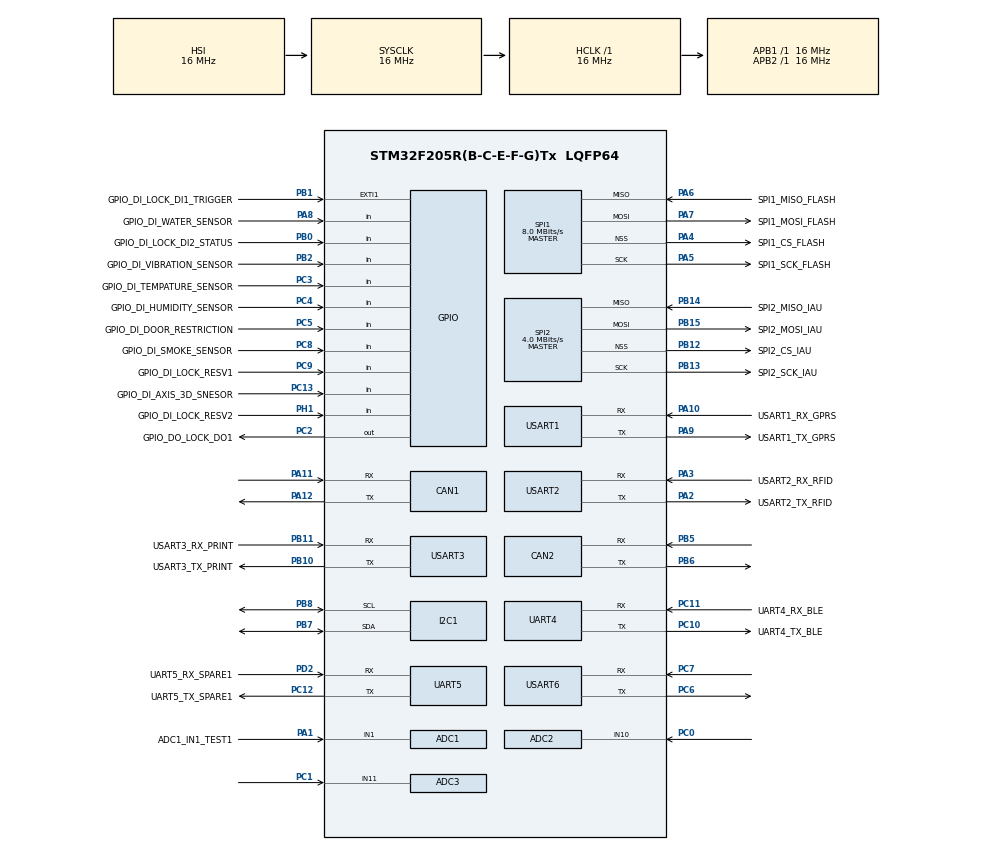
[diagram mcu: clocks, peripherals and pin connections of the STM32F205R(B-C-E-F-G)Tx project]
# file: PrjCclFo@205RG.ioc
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ADC1.Channel-20\#ChannelRegularConversion=ADC_CHANNEL_1
ADC1.NbrOfConversionFlag=1
ADC1.Rank-20\#ChannelRegularConversion=1
ADC1.SamplingTime-20\#ChannelRegularConversion=ADC_SAMPLETIME_3CYCLES
ADC1.master=1
ADC2.Channel-0\#ChannelRegularConversion=ADC_CHANNEL_10
ADC2.NbrOfConversionFlag=1
ADC2.Rank-0\#ChannelRegularConversion=1
ADC2.SamplingTime-0\#ChannelRegularConversion=ADC_SAMPLETIME_3CYCLES
ADC3.Channel-147\#ChannelRegularConversion=ADC_CHANNEL_11
ADC3.NbrOfConversionFlag=1
ADC3.Rank-147\#ChannelRegularConversion=1
ADC3.SamplingTime-147\#ChannelRegularConversion=ADC_SAMPLETIME_3CYCLES
CAN1.CalculateTimeBit=3000
CAN1.CalculateTimeQuantum=1000.0
CAN2.CalculateTimeBit=3000
CAN2.CalculateTimeQuantum=1000.0
Dma.Request0=SPI2_RX
Dma.Request1=SPI2_TX
Dma.Request2=SPI1_TX
Dma.Request3=SPI1_RX
Dma.SPI1_RX.3.Direction=DMA_PERIPH_TO_MEMORY
Dma.SPI1_RX.3.FIFOMode=DMA_FIFOMODE_DISABLE
Dma.SPI1_RX.3.Instance=DMA2_Stream0
Dma.SPI1_RX.3.MemDataAlignment=DMA_MDATAALIGN_BYTE
Dma.SPI1_RX.3.MemInc=DMA_MINC_ENABLE
Dma.SPI1_RX.3.Mode=DMA_NORMAL
Dma.SPI1_RX.3.PeriphDataAlignment=DMA_PDATAALIGN_BYTE
Dma.SPI1_RX.3.PeriphInc=DMA_PINC_DISABLE
Dma.SPI1_RX.3.Priority=DMA_PRIORITY_MEDIUM
Dma.SPI1_TX.2.Direction=DMA_MEMORY_TO_PERIPH
Dma.SPI1_TX.2.FIFOMode=DMA_FIFOMODE_DISABLE
Dma.SPI1_TX.2.Instance=DMA2_Stream3
Dma.SPI1_TX.2.MemDataAlignment=DMA_MDATAALIGN_BYTE
Dma.SPI1_TX.2.MemInc=DMA_MINC_ENABLE
Dma.SPI1_TX.2.Mode=DMA_NORMAL
Dma.SPI1_TX.2.PeriphDataAlignment=DMA_PDATAALIGN_BYTE
Dma.SPI1_TX.2.PeriphInc=DMA_PINC_DISABLE
Dma.SPI1_TX.2.Priority=DMA_PRIORITY_MEDIUM
Dma.SPI2_RX.0.Direction=DMA_PERIPH_TO_MEMORY
Dma.SPI2_RX.0.FIFOMode=DMA_FIFOMODE_DISABLE
Dma.SPI2_RX.0.Instance=DMA1_Stream3
Dma.SPI2_RX.0.MemDataAlignment=DMA_MDATAALIGN_BYTE
Dma.SPI2_RX.0.MemInc=DMA_MINC_ENABLE
Dma.SPI2_RX.0.Mode=DMA_NORMAL
Dma.SPI2_RX.0.PeriphDataAlignment=DMA_PDATAALIGN_BYTE
Dma.SPI2_RX.0.PeriphInc=DMA_PINC_DISABLE
Dma.SPI2_RX.0.Priority=DMA_PRIORITY_MEDIUM
Dma.SPI2_TX.1.Direction=DMA_MEMORY_TO_PERIPH
Dma.SPI2_TX.1.FIFOMode=DMA_FIFOMODE_DISABLE
Dma.SPI2_TX.1.Instance=DMA1_Stream4
Dma.SPI2_TX.1.MemDataAlignment=DMA_MDATAALIGN_BYTE
Dma.SPI2_TX.1.MemInc=DMA_MINC_ENABLE
Dma.SPI2_TX.1.Mode=DMA_NORMAL
Dma.SPI2_TX.1.PeriphDataAlignment=DMA_PDATAALIGN_BYTE
Dma.SPI2_TX.1.PeriphInc=DMA_PINC_DISABLE
Dma.SPI2_TX.1.Priority=DMA_PRIORITY_MEDIUM
FREERTOS.INCLUDE_eTaskGetState=1
FREERTOS.INCLUDE_pcTaskGetTaskName=1
FREERTOS.INCLUDE_vTaskCleanUpResources=1
FREERTOS.Queues01=myQueue01,16,uint16_t,NULL
FREERTOS.Tasks01=defaultTask,0,512,StartDefaultTask,Default;myTask02,0,512,StartTask02,Default
FREERTOS.Timers01=myTimer01,Callback01,osTimerPeriodic,Default
FREERTOS.configCHECK_FOR_STACK_OVERFLOW=2
FREERTOS.configGENERATE_RUN_TIME_STATS=1
FREERTOS.configMAX_PRIORITIES=31
FREERTOS.configMAX_TASK_NAME_LEN=24
FREERTOS.configMINIMAL_STACK_SIZE=128
FREERTOS.configQUEUE_REGISTRY_SIZE=2
FREERTOS.configTOTAL_HEAP_SIZE=0x9C00
FREERTOS.configUSE_COUNTING_SEMAPHORES=1
FREERTOS.configUSE_IDLE_HOOK=1
FREERTOS.configUSE_MALLOC_FAILED_HOOK=1
FREERTOS.configUSE_PORT_OPTIMISED_TASK_SELECTION=1
FREERTOS.configUSE_PREEMPTION=1
FREERTOS.configUSE_RECURSIVE_MUTEXES=1
FREERTOS.configUSE_TICKLESS_IDLE=1
FREERTOS.configUSE_TICK_HOOK=1
FREERTOS.configUSE_TIMERS=1
Mcu.Family=STM32F2
Mcu.Name=STM32F205R(B-C-E-F-G)Tx
Mcu.Package=LQFP64
NVIC.CAN1_RX0_IRQn=true\:5\:0\:false\:false\:true\:true
NVIC.CAN1_RX1_IRQn=true\:5\:0\:false\:false\:true\:true
NVIC.CAN1_SCE_IRQn=true\:5\:0\:false\:false\:true\:true
NVIC.CAN1_TX_IRQn=true\:5\:0\:false\:false\:true\:true
NVIC.CAN2_RX0_IRQn=true\:5\:0\:false\:false\:true\:true
NVIC.CAN2_RX1_IRQn=true\:5\:0\:false\:false\:true\:true
NVIC.CAN2_SCE_IRQn=true\:5\:0\:false\:false\:true\:true
NVIC.CAN2_TX_IRQn=true\:5\:0\:false\:false\:true\:true
NVIC.DMA1_Stream3_IRQn=true\:5\:0\:false\:false\:true\:true
NVIC.DMA1_Stream4_IRQn=true\:5\:0\:false\:false\:true\:true
NVIC.DMA2_Stream0_IRQn=true\:0\:0\:false\:true\:true\:8\:false
NVIC.DMA2_Stream3_IRQn=true\:0\:0\:false\:true\:true\:9\:false
NVIC.I2C1_ER_IRQn=true\:0\:0\:false\:true\:true\:2\:false
NVIC.I2C1_EV_IRQn=true\:0\:0\:false\:true\:true\:1\:false
NVIC.PriorityGroup=NVIC_PRIORITYGROUP_4
NVIC.SPI2_IRQn=true\:5\:0\:false\:true\:true\:3\:true
NVIC.TIM1_UP_TIM10_IRQn=true\:0\:0\:false\:false\:true\:false
NVIC.TimeBase=TIM1_UP_TIM10_IRQn
NVIC.TimeBaseIP=TIM1
NVIC.UART4_IRQn=true\:5\:0\:false\:true\:true\:6\:true
NVIC.UART5_IRQn=true\:5\:0\:false\:true\:true\:7\:true
NVIC.USART1_IRQn=true\:5\:0\:true\:false\:true\:true
NVIC.USART2_IRQn=true\:5\:0\:false\:true\:true\:4\:true
NVIC.USART3_IRQn=true\:5\:0\:false\:true\:true\:5\:true
NVIC.USART6_IRQn=true\:0\:0\:false\:true\:true\:10\:false
PA0-WKUP.Mode=SYS_WakeUp0
PA0-WKUP.Signal=SYS_WKUP
PA1.GPIO_Label=ADC1_IN1_TEST1
PA1.Signal=ADCx_IN1
PA10.GPIO_Label=USART1_RX_GPRS
PA10.Mode=Asynchronous
PA10.Signal=USART1_RX
PA11.Mode=Master
PA11.Signal=CAN1_RX
PA12.Mode=Master
PA12.Signal=CAN1_TX
PA13.Mode=JTAG_5_pins
PA13.Signal=SYS_JTMS-SWDIO
PA14.Mode=JTAG_5_pins
PA14.Signal=SYS_JTCK-SWCLK
PA15.Mode=JTAG_5_pins
PA15.Signal=SYS_JTDI
PA2.GPIO_Label=USART2_TX_RFID
PA2.Mode=Asynchronous
PA2.Signal=USART2_TX
PA3.GPIO_Label=USART2_RX_RFID
PA3.Mode=Asynchronous
PA3.Signal=USART2_RX
PA4.GPIO_Label=SPI1_CS_FLASH
PA4.Mode=NSS_Signal_Hard_Output
PA4.Signal=SPI1_NSS
PA5.GPIO_Label=SPI1_SCK_FLASH
PA5.Mode=Full_Duplex_Master
PA5.Signal=SPI1_SCK
PA6.GPIO_Label=SPI1_MISO_FLASH
PA6.Mode=Full_Duplex_Master
PA6.Signal=SPI1_MISO
PA7.GPIO_Label=SPI1_MOSI_FLASH
PA7.Mode=Full_Duplex_Master
PA7.Signal=SPI1_MOSI
PA8.GPIO_Label=GPIO_DI_WATER_SENSOR
PA8.Signal=GPIO_Input
PA9.GPIO_Label=USART1_TX_GPRS
PA9.Mode=Asynchronous
PA9.Signal=USART1_TX
PB0.GPIO_Label=GPIO_DI_LOCK_DI2_STATUS
PB0.Signal=GPIO_Input
PB1.GPIO_Label=GPIO_DI_LOCK_DI1_TRIGGER
PB1.Signal=GPXTI1
PB10.GPIO_Label=USART3_TX_PRINT
PB10.Mode=Asynchronous
PB10.Signal=USART3_TX
PB11.GPIO_Label=USART3_RX_PRINT
PB11.Mode=Asynchronous
PB11.Signal=USART3_RX
PB12.GPIO_Label=SPI2_CS_IAU
PB12.Mode=NSS_Signal_Hard_Output
PB12.Signal=SPI2_NSS
PB13.GPIO_Label=SPI2_SCK_IAU
PB13.Mode=Full_Duplex_Master
PB13.Signal=SPI2_SCK
PB14.GPIO_Label=SPI2_MISO_IAU
PB14.Mode=Full_Duplex_Master
PB14.Signal=SPI2_MISO
PB15.GPIO_Label=SPI2_MOSI_IAU
PB15.Mode=Full_Duplex_Master
PB15.Signal=SPI2_MOSI
PB2.GPIO_Label=GPIO_DI_VIBRATION_SENSOR
PB2.Signal=GPIO_Input
PB3.Mode=JTAG_5_pins
PB3.Signal=SYS_JTDO-SWO
PB4.Mode=JTAG_5_pins
PB4.Signal=SYS_JTRST
PB5.Mode=Slave
PB5.Signal=CAN2_RX
PB6.Mode=Slave
PB6.Signal=CAN2_TX
PB7.Mode=I2C
PB7.Signal=I2C1_SDA
PB8.Mode=I2C
PB8.Signal=I2C1_SCL
PC0.Signal=ADCx_IN10
PC1.Signal=ADCx_IN11
PC10.GPIO_Label=UART4_TX_BLE
PC10.Mode=Asynchronous
PC10.Signal=UART4_TX
PC11.GPIO_Label=UART4_RX_BLE
PC11.Mode=Asynchronous
PC11.Signal=UART4_RX
PC12.GPIO_Label=UART5_TX_SPARE1
PC12.Mode=Asynchronous
PC12.Signal=UART5_TX
PC13.GPIO_Label=GPIO_DI_AXIS_3D_SNESOR
PC13.Signal=GPIO_Input
PC14-OSC32_IN.Mode=LSE-External-Oscillator
PC14-OSC32_IN.Signal=RCC_OSC32_IN
PC15-OSC32_OUT.Mode=LSE-External-Oscillator
PC15-OSC32_OUT.Signal=RCC_OSC32_OUT
PC2.GPIO_Label=GPIO_DO_LOCK_DO1
PC2.Signal=GPIO_Output
PC3.GPIO_Label=GPIO_DI_TEMPATURE_SENSOR
PC3.Signal=GPIO_Input
PC4.GPIO_Label=GPIO_DI_HUMIDITY_SENSOR
PC4.Signal=GPIO_Input
PC5.GPIO_Label=GPIO_DI_DOOR_RESTRICTION
PC5.Signal=GPIO_Input
PC6.Mode=Asynchronous
PC6.Signal=USART6_TX
PC7.Mode=Asynchronous
PC7.Signal=USART6_RX
PC8.GPIO_Label=GPIO_DI_SMOKE_SENSOR
PC8.Signal=GPIO_Input
PC9.GPIO_Label=GPIO_DI_LOCK_RESV1
PC9.Signal=GPIO_Input
PD2.GPIO_Label=UART5_RX_SPARE1
PD2.Mode=Asynchronous
PD2.Signal=UART5_RX
PH1-OSC_OUT.GPIO_Label=GPIO_DI_LOCK_RESV2
PH1-OSC_OUT.Signal=GPIO_Input
ProjectManager.HeapSize=0x200
ProjectManager.StackSize=0x400
ProjectManager.TargetToolchain=MDK-ARM V5
RCC.48MHZClocksFreq_Value=48000000
RCC.AHBFreq_Value=16000000
RCC.APB1Freq_Value=16000000
RCC.APB1TimFreq_Value=16000000
RCC.APB2Freq_Value=16000000
RCC.APB2TimFreq_Value=16000000
RCC.CortexFreq_Value=2000000
RCC.Cortex_Div=SYSTICK_CLKSOURCE_HCLK_DIV8
RCC.HCLKFreq_Value=16000000
RCC.HSE_VALUE=25000000
RCC.HSI_VALUE=16000000
RCC.SYSCLKFreq_VALUE=16000000
RCC.VCOOutputFreq_Value=192000000
SH.ADCx_IN1.0=ADC1_IN1,IN1
SH.ADCx_IN10.0=ADC2_IN10,IN10
SH.ADCx_IN11.0=ADC3_IN11,IN11
SPI1.BaudRatePrescaler=SPI_BAUDRATEPRESCALER_2
SPI1.CalculateBaudRate=8.0 MBits/s
SPI1.Mode=SPI_MODE_MASTER
SPI1.VirtualNSS=VM_NSSHARD
SPI2.BaudRatePrescaler=SPI_BAUDRATEPRESCALER_4
SPI2.CalculateBaudRate=4.0 MBits/s
SPI2.Mode=SPI_MODE_MASTER
SPI2.VirtualNSS=VM_NSSHARD
VP_FREERTOS_VS_ENABLE.Mode=Enabled
VP_RTC_VS_RTC_Activate.Mode=RTC_Enabled
VP_RTC_VS_RTC_Alarm_A_Intern.Mode=Alarm A
VP_RTC_VS_RTC_Alarm_B_Intern.Mode=Alarm B
VP_RTC_VS_RTC_Calendar.Mode=RTC_Calendar
VP_RTC_VS_RTC_WakeUp_intern.Mode=WakeUp
VP_SYS_VS_tim1.Mode=TIM1
VP_TIM6_VS_ClockSourceINT.Mode=Enable_Timer
VP_TIM7_VS_ClockSourceINT.Mode=Enable_Timer
board=PrjCclFo@205RG

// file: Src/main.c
/**
  ******************************************************************************
  * File Name          : main.c
  * Description        : Main program body
  ******************************************************************************
  *
  * Copyright (c) 2016 STMicroelectronics International N.V.
  * All rights reserved.
  *
  * Redistribution and use in source and binary forms, with or without
  * modification, are permitted, provided that the following conditions are met:
  *
  * 1. Redistribution of source code must retain the above copyright notice,
  *    this list of conditions and the following disclaimer.
  * 2. Redistributions in binary form must reproduce the above copyright notice,
  *    this list of conditions and the following disclaimer in the documentation
  *    and/or other materials provided with the distribution.
  * 3. Neither the name of STMicroelectronics nor the names of other
  *    contributors to this software may be used to endorse or promote products
  *    derived from this software without specific written permission.
  * 4. This software, including modifications and/or derivative works of this
  *    software, must execute solely and exclusively on microcontroller or
  *    microprocessor devices manufactured by or for STMicroelectronics.
  * 5. Redistribution and use of this software other than as permitted under
  *    this license is void and will automatically terminate your rights under
  *    this license.
  *
  * THIS SOFTWARE IS PROVIDED BY STMICROELECTRONICS AND CONTRIBUTORS "AS IS"
  * AND ANY EXPRESS, IMPLIED OR STATUTORY WARRANTIES, INCLUDING, BUT NOT
  * LIMITED TO, THE IMPLIED WARRANTIES OF MERCHANTABILITY, FITNESS FOR A
  * PARTICULAR PURPOSE AND NON-INFRINGEMENT OF THIRD PARTY INTELLECTUAL PROPERTY
  * RIGHTS ARE DISCLAIMED TO THE FULLEST EXTENT PERMITTED BY LAW. IN NO EVENT
  * SHALL STMICROELECTRONICS OR CONTRIBUTORS BE LIABLE FOR ANY DIRECT, INDIRECT,
  * INCIDENTAL, SPECIAL, EXEMPLARY, OR CONSEQUENTIAL DAMAGES (INCLUDING, BUT NOT
  * LIMITED TO, PROCUREMENT OF SUBSTITUTE GOODS OR SERVICES; LOSS OF USE, DATA,
  * OR PROFITS; OR BUSINESS INTERRUPTION) HOWEVER CAUSED AND ON ANY THEORY OF
  * LIABILITY, WHETHER IN CONTRACT, STRICT LIABILITY, OR TORT (INCLUDING
  * NEGLIGENCE OR OTHERWISE) ARISING IN ANY WAY OUT OF THE USE OF THIS SOFTWARE,
  * EVEN IF ADVISED OF THE POSSIBILITY OF SUCH DAMAGE.
  *
  ******************************************************************************
  */
#include "main.h"
#include "stm32f2xx_hal.h"
#include "cmsis_os.h"

/* USER CODE BEGIN Includes */
#include "vmfreeoslayer.h"
/* USER CODE END Includes */

ADC_HandleTypeDef hadc1;
ADC_HandleTypeDef hadc2;
ADC_HandleTypeDef hadc3;

CAN_HandleTypeDef hcan1;
CAN_HandleTypeDef hcan2;

I2C_HandleTypeDef hi2c1;

RTC_HandleTypeDef hrtc;

SPI_HandleTypeDef hspi1;
SPI_HandleTypeDef hspi2;
DMA_HandleTypeDef hdma_spi1_tx;
DMA_HandleTypeDef hdma_spi1_rx;
DMA_HandleTypeDef hdma_spi2_rx;
DMA_HandleTypeDef hdma_spi2_tx;

TIM_HandleTypeDef htim6;
TIM_HandleTypeDef htim7;

UART_HandleTypeDef huart4;
UART_HandleTypeDef huart5;
UART_HandleTypeDef huart1;
UART_HandleTypeDef huart2;
UART_HandleTypeDef huart3;
UART_HandleTypeDef huart6;

osThreadId defaultTaskHandle;
osThreadId myTask02Handle;
osMessageQId myQueue01Handle;
osTimerId myTimer01Handle;

/* USER CODE BEGIN PV */
/* Private variables ---------------------------------------------------------*/
uint8_t zIhuUartRxBuffer[6];
uint8_t zIhuSpiRxBuffer[2];
uint8_t zIhuI2cRxBuffer[2];

/* USER CODE END PV */

void SystemClock_Config(void);
void Error_Handler(void);
static void MX_GPIO_Init(void);
static void MX_DMA_Init(void);
static void MX_ADC1_Init(void);
static void MX_ADC2_Init(void);
static void MX_ADC3_Init(void);
static void MX_I2C1_Init(void);
static void MX_SPI1_Init(void);
static void MX_SPI2_Init(void);
static void MX_UART4_Init(void);
static void MX_UART5_Init(void);
static void MX_USART1_UART_Init(void);
static void MX_USART2_UART_Init(void);
static void MX_USART3_UART_Init(void);
static void MX_USART6_UART_Init(void);
static void MX_TIM6_Init(void);
static void MX_TIM7_Init(void);
static void MX_CAN1_Init(void);
static void MX_CAN2_Init(void);
static void MX_RTC_Init(void);
void StartDefaultTask(void const * argument);
void StartTask02(void const * argument);
void Callback01(void const * argument);
static void MX_NVIC_Init(void);

/* USER CODE BEGIN PFP */
/* Private function prototypes -----------------------------------------------*/

/* USER CODE END PFP */

int main(void)
{

  /* MCU Configuration----------------------------------------------------------*/

  /* Reset of all peripherals, Initializes the Flash interface and the Systick. */
  HAL_Init();

  /* Configure the system clock */
  SystemClock_Config();

  /* Initialize all configured peripherals */
  MX_GPIO_Init();
  MX_DMA_Init();
  MX_ADC1_Init();
  MX_ADC2_Init();
  MX_ADC3_Init();
  MX_I2C1_Init();
  MX_SPI1_Init();
  MX_SPI2_Init();
  MX_UART4_Init();
  MX_UART5_Init();
  MX_USART1_UART_Init();
  MX_USART2_UART_Init();
  MX_USART3_UART_Init();
  MX_USART6_UART_Init();
  MX_TIM6_Init();
  MX_TIM7_Init();
  MX_CAN1_Init();
  MX_CAN2_Init();
  MX_RTC_Init();

  /* Initialize interrupts */
  MX_NVIC_Init();

  /* USER CODE BEGIN 2 */
	/* 使能接收，进入中断回调函数 */
  HAL_UART_Receive_IT(&huart1,&zIhuUartRxBuffer[0],1);
  HAL_UART_Receive_IT(&huart2,&zIhuUartRxBuffer[1],1);
  HAL_UART_Receive_IT(&huart3,&zIhuUartRxBuffer[2],1);
  HAL_UART_Receive_IT(&huart4,&zIhuUartRxBuffer[3],1);
  HAL_UART_Receive_IT(&huart5,&zIhuUartRxBuffer[4],1);
  HAL_UART_Receive_IT(&huart6,&zIhuUartRxBuffer[5],1);
  HAL_SPI_Receive_IT(&hspi1,&zIhuSpiRxBuffer[0],1);
  HAL_SPI_Receive_IT(&hspi2,&zIhuSpiRxBuffer[1],1);
  HAL_I2C_Slave_Receive_IT(&hi2c1,&zIhuI2cRxBuffer[0],1);
  HAL_CAN_Receive_IT(&hcan1, 0);
  HAL_CAN_Receive_IT(&hcan2, 1);

  /* USER CODE END 2 */

  /* Create the timer(s) */
  /* definition and creation of myTimer01 */
  osTimerDef(myTimer01, Callback01);
  myTimer01Handle = osTimerCreate(osTimer(myTimer01), osTimerPeriodic, NULL);

  /* Create the thread(s) */
  /* definition and creation of defaultTask */
  osThreadDef(defaultTask, StartDefaultTask, osPriorityNormal, 0, 512);
  defaultTaskHandle = osThreadCreate(osThread(defaultTask), NULL);

  /* definition and creation of myTask02 */
  osThreadDef(myTask02, StartTask02, osPriorityNormal, 0, 512);
  myTask02Handle = osThreadCreate(osThread(myTask02), NULL);

  /* Create the queue(s) */
  /* definition and creation of myQueue01 */
  osMessageQDef(myQueue01, 16, uint16_t);
  myQueue01Handle = osMessageCreate(osMessageQ(myQueue01), NULL);

  /* USER CODE BEGIN RTOS_QUEUES */
  /* add queues, ... */
	//挂载VMFO到这儿
	ihu_vm_main();

  /* USER CODE END RTOS_QUEUES */

  /* Start scheduler */
  osKernelStart();

  /* We should never get here as control is now taken by the scheduler */

  /* Infinite loop */
  while (1)
  {

  }

}

/** System Clock Configuration
*/
void SystemClock_Config(void)
{

  RCC_OscInitTypeDef RCC_OscInitStruct;
  RCC_ClkInitTypeDef RCC_ClkInitStruct;
  RCC_PeriphCLKInitTypeDef PeriphClkInitStruct;

    /**Initializes the CPU, AHB and APB busses clocks
    */
  RCC_OscInitStruct.OscillatorType = RCC_OSCILLATORTYPE_HSI|RCC_OSCILLATORTYPE_LSI;
  RCC_OscInitStruct.HSIState = RCC_HSI_ON;
  RCC_OscInitStruct.HSICalibrationValue = 16;
  RCC_OscInitStruct.LSIState = RCC_LSI_ON;
  RCC_OscInitStruct.PLL.PLLState = RCC_PLL_NONE;
  if (HAL_RCC_OscConfig(&RCC_OscInitStruct) != HAL_OK)
  {
    Error_Handler();
  }

    /**Initializes the CPU, AHB and APB busses clocks
    */
  RCC_ClkInitStruct.ClockType = RCC_CLOCKTYPE_HCLK|RCC_CLOCKTYPE_SYSCLK
                              |RCC_CLOCKTYPE_PCLK1|RCC_CLOCKTYPE_PCLK2;
  RCC_ClkInitStruct.SYSCLKSource = RCC_SYSCLKSOURCE_HSI;
  RCC_ClkInitStruct.AHBCLKDivider = RCC_SYSCLK_DIV1;
  RCC_ClkInitStruct.APB1CLKDivider = RCC_HCLK_DIV1;
  RCC_ClkInitStruct.APB2CLKDivider = RCC_HCLK_DIV1;

  if (HAL_RCC_ClockConfig(&RCC_ClkInitStruct, FLASH_LATENCY_0) != HAL_OK)
  {
    Error_Handler();
  }

  PeriphClkInitStruct.PeriphClockSelection = RCC_PERIPHCLK_RTC;
  PeriphClkInitStruct.RTCClockSelection = RCC_RTCCLKSOURCE_LSI;
  if (HAL_RCCEx_PeriphCLKConfig(&PeriphClkInitStruct) != HAL_OK)
  {
    Error_Handler();
  }

    /**Configure the Systick interrupt time
    */
  HAL_SYSTICK_Config(HAL_RCC_GetHCLKFreq()/8000);

    /**Configure the Systick
    */
  HAL_SYSTICK_CLKSourceConfig(SYSTICK_CLKSOURCE_HCLK_DIV8);

  /* SysTick_IRQn interrupt configuration */
  HAL_NVIC_SetPriority(SysTick_IRQn, 15, 0);
}

/** NVIC Configuration
*/
static void MX_NVIC_Init(void)
{
  /* I2C1_EV_IRQn interrupt configuration */
  HAL_NVIC_SetPriority(I2C1_EV_IRQn, 0, 0);
  HAL_NVIC_EnableIRQ(I2C1_EV_IRQn);
  /* I2C1_ER_IRQn interrupt configuration */
  HAL_NVIC_SetPriority(I2C1_ER_IRQn, 0, 0);
  HAL_NVIC_EnableIRQ(I2C1_ER_IRQn);
  /* SPI2_IRQn interrupt configuration */
  HAL_NVIC_SetPriority(SPI2_IRQn, 5, 0);
  HAL_NVIC_EnableIRQ(SPI2_IRQn);
  /* USART2_IRQn interrupt configuration */
  HAL_NVIC_SetPriority(USART2_IRQn, 5, 0);
  HAL_NVIC_EnableIRQ(USART2_IRQn);
  /* USART3_IRQn interrupt configuration */
  HAL_NVIC_SetPriority(USART3_IRQn, 5, 0);
  HAL_NVIC_EnableIRQ(USART3_IRQn);
  /* UART4_IRQn interrupt configuration */
  HAL_NVIC_SetPriority(UART4_IRQn, 5, 0);
  HAL_NVIC_EnableIRQ(UART4_IRQn);
  /* UART5_IRQn interrupt configuration */
  HAL_NVIC_SetPriority(UART5_IRQn, 5, 0);
  HAL_NVIC_EnableIRQ(UART5_IRQn);
  /* DMA2_Stream0_IRQn interrupt configuration */
  HAL_NVIC_SetPriority(DMA2_Stream0_IRQn, 0, 0);
  HAL_NVIC_EnableIRQ(DMA2_Stream0_IRQn);
  /* DMA2_Stream3_IRQn interrupt configuration */
  HAL_NVIC_SetPriority(DMA2_Stream3_IRQn, 0, 0);
  HAL_NVIC_EnableIRQ(DMA2_Stream3_IRQn);
  /* USART6_IRQn interrupt configuration */
  HAL_NVIC_SetPriority(USART6_IRQn, 0, 0);
  HAL_NVIC_EnableIRQ(USART6_IRQn);
}

/* ADC1 init function */
static void MX_ADC1_Init(void)
{

  ADC_ChannelConfTypeDef sConfig;

    /**Configure the global features of the ADC (Clock, Resolution, Data Alignment and number of conversion)
    */
  hadc1.Instance = ADC1;
  hadc1.Init.ClockPrescaler = ADC_CLOCK_SYNC_PCLK_DIV2;
  hadc1.Init.Resolution = ADC_RESOLUTION_12B;
  hadc1.Init.ScanConvMode = DISABLE;
  hadc1.Init.ContinuousConvMode = DISABLE;
  hadc1.Init.DiscontinuousConvMode = DISABLE;
  hadc1.Init.ExternalTrigConvEdge = ADC_EXTERNALTRIGCONVEDGE_NONE;
  hadc1.Init.DataAlign = ADC_DATAALIGN_RIGHT;
  hadc1.Init.NbrOfConversion = 1;
  hadc1.Init.DMAContinuousRequests = DISABLE;
  hadc1.Init.EOCSelection = ADC_EOC_SINGLE_CONV;
  if (HAL_ADC_Init(&hadc1) != HAL_OK)
  {
    Error_Handler();
  }

    /**Configure for the selected ADC regular channel its corresponding rank in the sequencer and its sample time.
    */
  sConfig.Channel = ADC_CHANNEL_1;
  sConfig.Rank = 1;
  sConfig.SamplingTime = ADC_SAMPLETIME_3CYCLES;
  if (HAL_ADC_ConfigChannel(&hadc1, &sConfig) != HAL_OK)
  {
    Error_Handler();
  }

}

/* ADC2 init function */
static void MX_ADC2_Init(void)
{

  ADC_ChannelConfTypeDef sConfig;

    /**Configure the global features of the ADC (Clock, Resolution, Data Alignment and number of conversion)
    */
  hadc2.Instance = ADC2;
  hadc2.Init.ClockPrescaler = ADC_CLOCK_SYNC_PCLK_DIV2;
  hadc2.Init.Resolution = ADC_RESOLUTION_12B;
  hadc2.Init.ScanConvMode = DISABLE;
  hadc2.Init.ContinuousConvMode = DISABLE;
  hadc2.Init.DiscontinuousConvMode = DISABLE;
  hadc2.Init.ExternalTrigConvEdge = ADC_EXTERNALTRIGCONVEDGE_NONE;
  hadc2.Init.DataAlign = ADC_DATAALIGN_RIGHT;
  hadc2.Init.NbrOfConversion = 1;
  hadc2.Init.DMAContinuousRequests = DISABLE;
  hadc2.Init.EOCSelection = ADC_EOC_SINGLE_CONV;
  if (HAL_ADC_Init(&hadc2) != HAL_OK)
  {
    Error_Handler();
  }

    /**Configure for the selected ADC regular channel its corresponding rank in the sequencer and its sample time.
    */
  sConfig.Channel = ADC_CHANNEL_10;
  sConfig.Rank = 1;
  sConfig.SamplingTime = ADC_SAMPLETIME_3CYCLES;
  if (HAL_ADC_ConfigChannel(&hadc2, &sConfig) != HAL_OK)
  {
    Error_Handler();
  }

}

/* ADC3 init function */
static void MX_ADC3_Init(void)
{

  ADC_ChannelConfTypeDef sConfig;

    /**Configure the global features of the ADC (Clock, Resolution, Data Alignment and number of conversion)
    */
  hadc3.Instance = ADC3;
  hadc3.Init.ClockPrescaler = ADC_CLOCK_SYNC_PCLK_DIV2;
  hadc3.Init.Resolution = ADC_RESOLUTION_12B;
  hadc3.Init.ScanConvMode = DISABLE;
  hadc3.Init.ContinuousConvMode = DISABLE;
  hadc3.Init.DiscontinuousConvMode = DISABLE;
  hadc3.Init.ExternalTrigConvEdge = ADC_EXTERNALTRIGCONVEDGE_NONE;
  hadc3.Init.DataAlign = ADC_DATAALIGN_RIGHT;
  hadc3.Init.NbrOfConversion = 1;
  hadc3.Init.DMAContinuousRequests = DISABLE;
  hadc3.Init.EOCSelection = ADC_EOC_SINGLE_CONV;
  if (HAL_ADC_Init(&hadc3) != HAL_OK)
  {
    Error_Handler();
  }

    /**Configure for the selected ADC regular channel its corresponding rank in the sequencer and its sample time.
    */
  sConfig.Channel = ADC_CHANNEL_11;
  sConfig.Rank = 1;
  sConfig.SamplingTime = ADC_SAMPLETIME_3CYCLES;
  if (HAL_ADC_ConfigChannel(&hadc3, &sConfig) != HAL_OK)
  {
    Error_Handler();
  }

}

/* CAN1 init function */
static void MX_CAN1_Init(void)
{

  hcan1.Instance = CAN1;
  hcan1.Init.Prescaler = 16;
  hcan1.Init.Mode = CAN_MODE_NORMAL;
  hcan1.Init.SJW = CAN_SJW_1TQ;
  hcan1.Init.BS1 = CAN_BS1_1TQ;
  hcan1.Init.BS2 = CAN_BS2_1TQ;
  hcan1.Init.TTCM = DISABLE;
  hcan1.Init.ABOM = DISABLE;
  hcan1.Init.AWUM = DISABLE;
  hcan1.Init.NART = DISABLE;
  hcan1.Init.RFLM = DISABLE;
  hcan1.Init.TXFP = DISABLE;
  if (HAL_CAN_Init(&hcan1) != HAL_OK)
  {
    Error_Handler();
  }

}

/* CAN2 init function */
static void MX_CAN2_Init(void)
{

  hcan2.Instance = CAN2;
  hcan2.Init.Prescaler = 16;
  hcan2.Init.Mode = CAN_MODE_NORMAL;
  hcan2.Init.SJW = CAN_SJW_1TQ;
  hcan2.Init.BS1 = CAN_BS1_1TQ;
  hcan2.Init.BS2 = CAN_BS2_1TQ;
  hcan2.Init.TTCM = DISABLE;
  hcan2.Init.ABOM = DISABLE;
  hcan2.Init.AWUM = DISABLE;
  hcan2.Init.NART = DISABLE;
  hcan2.Init.RFLM = DISABLE;
  hcan2.Init.TXFP = DISABLE;
  if (HAL_CAN_Init(&hcan2) != HAL_OK)
  {
    Error_Handler();
  }

}

/* I2C1 init function */
static void MX_I2C1_Init(void)
{

  hi2c1.Instance = I2C1;
  hi2c1.Init.ClockSpeed = 100000;
  hi2c1.Init.DutyCycle = I2C_DUTYCYCLE_2;
  hi2c1.Init.OwnAddress1 = 0;
  hi2c1.Init.AddressingMode = I2C_ADDRESSINGMODE_7BIT;
  hi2c1.Init.DualAddressMode = I2C_DUALADDRESS_DISABLE;
  hi2c1.Init.OwnAddress2 = 0;
  hi2c1.Init.GeneralCallMode = I2C_GENERALCALL_DISABLE;
  hi2c1.Init.NoStretchMode = I2C_NOSTRETCH_DISABLE;
  if (HAL_I2C_Init(&hi2c1) != HAL_OK)
  {
    Error_Handler();
  }

}

/* RTC init function */
static void MX_RTC_Init(void)
{

  RTC_TimeTypeDef sTime;
  RTC_DateTypeDef sDate;
  RTC_AlarmTypeDef sAlarm;

    /**Initialize RTC Only
    */
  hrtc.Instance = RTC;
  hrtc.Init.HourFormat = RTC_HOURFORMAT_24;
  hrtc.Init.AsynchPrediv = 127;
  hrtc.Init.SynchPrediv = 255;
  hrtc.Init.OutPut = RTC_OUTPUT_DISABLE;
  hrtc.Init.OutPutPolarity = RTC_OUTPUT_POLARITY_HIGH;
  hrtc.Init.OutPutType = RTC_OUTPUT_TYPE_OPENDRAIN;
  if (HAL_RTC_Init(&hrtc) != HAL_OK)
  {
    Error_Handler();
  }

    /**Initialize RTC and set the Time and Date
    */
  sTime.Hours = 0x0;
  sTime.Minutes = 0x0;
  sTime.Seconds = 0x0;
  sTime.DayLightSaving = RTC_DAYLIGHTSAVING_NONE;
  sTime.StoreOperation = RTC_STOREOPERATION_RESET;
  if (HAL_RTC_SetTime(&hrtc, &sTime, RTC_FORMAT_BCD) != HAL_OK)
  {
    Error_Handler();
  }

  sDate.WeekDay = RTC_WEEKDAY_MONDAY;
  sDate.Month = RTC_MONTH_JANUARY;
  sDate.Date = 0x1;
  sDate.Year = 0x0;

  if (HAL_RTC_SetDate(&hrtc, &sDate, RTC_FORMAT_BCD) != HAL_OK)
  {
    Error_Handler();
  }

    /**Enable the Alarm A
    */
  sAlarm.AlarmTime.Hours = 0x0;
  sAlarm.AlarmTime.Minutes = 0x0;
  sAlarm.AlarmTime.Seconds = 0x0;
  sAlarm.AlarmTime.DayLightSaving = RTC_DAYLIGHTSAVING_NONE;
  sAlarm.AlarmTime.StoreOperation = RTC_STOREOPERATION_RESET;
  sAlarm.AlarmMask = RTC_ALARMMASK_NONE;
  sAlarm.AlarmDateWeekDaySel = RTC_ALARMDATEWEEKDAYSEL_DATE;
  sAlarm.AlarmDateWeekDay = 0x1;
  sAlarm.Alarm = RTC_ALARM_A;
  if (HAL_RTC_SetAlarm(&hrtc, &sAlarm, RTC_FORMAT_BCD) != HAL_OK)
  {
    Error_Handler();
  }

    /**Enable the Alarm B
    */
  sAlarm.AlarmDateWeekDay = 0x1;
  sAlarm.Alarm = RTC_ALARM_B;
  if (HAL_RTC_SetAlarm(&hrtc, &sAlarm, RTC_FORMAT_BCD) != HAL_OK)
  {
    Error_Handler();
  }

    /**Enable the WakeUp
    */
  if (HAL_RTCEx_SetWakeUpTimer(&hrtc, 0, RTC_WAKEUPCLOCK_RTCCLK_DIV16) != HAL_OK)
  {
    Error_Handler();
  }

}

/* SPI1 init function */
static void MX_SPI1_Init(void)
{

  hspi1.Instance = SPI1;
  hspi1.Init.Mode = SPI_MODE_MASTER;
  hspi1.Init.Direction = SPI_DIRECTION_2LINES;
  hspi1.Init.DataSize = SPI_DATASIZE_8BIT;
  hspi1.Init.CLKPolarity = SPI_POLARITY_LOW;
  hspi1.Init.CLKPhase = SPI_PHASE_1EDGE;
  hspi1.Init.NSS = SPI_NSS_HARD_OUTPUT;
  hspi1.Init.BaudRatePrescaler = SPI_BAUDRATEPRESCALER_2;
  hspi1.Init.FirstBit = SPI_FIRSTBIT_MSB;
  hspi1.Init.TIMode = SPI_TIMODE_DISABLE;
  hspi1.Init.CRCCalculation = SPI_CRCCALCULATION_DISABLE;
  hspi1.Init.CRCPolynomial = 10;
  if (HAL_SPI_Init(&hspi1) != HAL_OK)
  {
    Error_Handler();
  }

}

/* SPI2 init function */
static void MX_SPI2_Init(void)
{

  hspi2.Instance = SPI2;
  hspi2.Init.Mode = SPI_MODE_MASTER;
  hspi2.Init.Direction = SPI_DIRECTION_2LINES;
  hspi2.Init.DataSize = SPI_DATASIZE_8BIT;
  hspi2.Init.CLKPolarity = SPI_POLARITY_LOW;
  hspi2.Init.CLKPhase = SPI_PHASE_1EDGE;
  hspi2.Init.NSS = SPI_NSS_HARD_OUTPUT;
  hspi2.Init.BaudRatePrescaler = SPI_BAUDRATEPRESCALER_4;
  hspi2.Init.FirstBit = SPI_FIRSTBIT_MSB;
  hspi2.Init.TIMode = SPI_TIMODE_DISABLE;
  hspi2.Init.CRCCalculation = SPI_CRCCALCULATION_DISABLE;
  hspi2.Init.CRCPolynomial = 10;
  if (HAL_SPI_Init(&hspi2) != HAL_OK)
  {
    Error_Handler();
  }

}

/* TIM6 init function */
static void MX_TIM6_Init(void)
{

  TIM_MasterConfigTypeDef sMasterConfig;

  htim6.Instance = TIM6;
  htim6.Init.Prescaler = 0;
  htim6.Init.CounterMode = TIM_COUNTERMODE_UP;
  htim6.Init.Period = 0;
  if (HAL_TIM_Base_Init(&htim6) != HAL_OK)
  {
    Error_Handler();
  }

  sMasterConfig.MasterOutputTrigger = TIM_TRGO_RESET;
  sMasterConfig.MasterSlaveMode = TIM_MASTERSLAVEMODE_DISABLE;
  if (HAL_TIMEx_MasterConfigSynchronization(&htim6, &sMasterConfig) != HAL_OK)
  {
    Error_Handler();
  }

}

/* TIM7 init function */
static void MX_TIM7_Init(void)
{

  TIM_MasterConfigTypeDef sMasterConfig;

  htim7.Instance = TIM7;
  htim7.Init.Prescaler = 0;
  htim7.Init.CounterMode = TIM_COUNTERMODE_UP;
  htim7.Init.Period = 0;
  if (HAL_TIM_Base_Init(&htim7) != HAL_OK)
  {
    Error_Handler();
  }

  sMasterConfig.MasterOutputTrigger = TIM_TRGO_RESET;
  sMasterConfig.MasterSlaveMode = TIM_MASTERSLAVEMODE_DISABLE;
  if (HAL_TIMEx_MasterConfigSynchronization(&htim7, &sMasterConfig) != HAL_OK)
  {
    Error_Handler();
  }

}

/* UART4 init function */
static void MX_UART4_Init(void)
{

  huart4.Instance = UART4;
  huart4.Init.BaudRate = 115200;
  huart4.Init.WordLength = UART_WORDLENGTH_8B;
  huart4.Init.StopBits = UART_STOPBITS_1;
  huart4.Init.Parity = UART_PARITY_NONE;
  huart4.Init.Mode = UART_MODE_TX_RX;
  huart4.Init.HwFlowCtl = UART_HWCONTROL_NONE;
  huart4.Init.OverSampling = UART_OVERSAMPLING_16;
  if (HAL_UART_Init(&huart4) != HAL_OK)
  {
    Error_Handler();
  }

}

/* UART5 init function */
static void MX_UART5_Init(void)
{

  huart5.Instance = UART5;
  huart5.Init.BaudRate = 115200;
  huart5.Init.WordLength = UART_WORDLENGTH_8B;
  huart5.Init.StopBits = UART_STOPBITS_1;
  huart5.Init.Parity = UART_PARITY_NONE;
  huart5.Init.Mode = UART_MODE_TX_RX;
  huart5.Init.HwFlowCtl = UART_HWCONTROL_NONE;
  huart5.Init.OverSampling = UART_OVERSAMPLING_16;
  if (HAL_UART_Init(&huart5) != HAL_OK)
  {
    Error_Handler();
  }

}

/* USART1 init function */
static void MX_USART1_UART_Init(void)
{

  huart1.Instance = USART1;
  huart1.Init.BaudRate = 115200;
  huart1.Init.WordLength = UART_WORDLENGTH_8B;
  huart1.Init.StopBits = UART_STOPBITS_1;
  huart1.Init.Parity = UART_PARITY_NONE;
  huart1.Init.Mode = UART_MODE_TX_RX;
  huart1.Init.HwFlowCtl = UART_HWCONTROL_NONE;
  huart1.Init.OverSampling = UART_OVERSAMPLING_16;
  if (HAL_UART_Init(&huart1) != HAL_OK)
  {
    Error_Handler();
  }

}

/* USART2 init function */
static void MX_USART2_UART_Init(void)
{

  huart2.Instance = USART2;
  huart2.Init.BaudRate = 115200;
  huart2.Init.WordLength = UART_WORDLENGTH_8B;
  huart2.Init.StopBits = UART_STOPBITS_1;
  huart2.Init.Parity = UART_PARITY_NONE;
  huart2.Init.Mode = UART_MODE_TX_RX;
  huart2.Init.HwFlowCtl = UART_HWCONTROL_NONE;
  huart2.Init.OverSampling = UART_OVERSAMPLING_16;
  if (HAL_UART_Init(&huart2) != HAL_OK)
  {
    Error_Handler();
  }

}

/* USART3 init function */
static void MX_USART3_UART_Init(void)
{

  huart3.Instance = USART3;
  huart3.Init.BaudRate = 115200;
  huart3.Init.WordLength = UART_WORDLENGTH_8B;
  huart3.Init.StopBits = UART_STOPBITS_1;
  huart3.Init.Parity = UART_PARITY_NONE;
  huart3.Init.Mode = UART_MODE_TX_RX;
  huart3.Init.HwFlowCtl = UART_HWCONTROL_NONE;
  huart3.Init.OverSampling = UART_OVERSAMPLING_16;
  if (HAL_UART_Init(&huart3) != HAL_OK)
  {
    Error_Handler();
  }

}

/* USART6 init function */
static void MX_USART6_UART_Init(void)
{

  huart6.Instance = USART6;
  huart6.Init.BaudRate = 115200;
  huart6.Init.WordLength = UART_WORDLENGTH_8B;
  huart6.Init.StopBits = UART_STOPBITS_1;
  huart6.Init.Parity = UART_PARITY_NONE;
  huart6.Init.Mode = UART_MODE_TX_RX;
  huart6.Init.HwFlowCtl = UART_HWCONTROL_NONE;
  huart6.Init.OverSampling = UART_OVERSAMPLING_16;
  if (HAL_UART_Init(&huart6) != HAL_OK)
  {
    Error_Handler();
  }

}

static void MX_DMA_Init(void)
{
  /* DMA controller clock enable */
  __HAL_RCC_DMA1_CLK_ENABLE();
  __HAL_RCC_DMA2_CLK_ENABLE();

  /* DMA interrupt init */
  /* DMA1_Stream3_IRQn interrupt configuration */
  HAL_NVIC_SetPriority(DMA1_Stream3_IRQn, 5, 0);
  HAL_NVIC_EnableIRQ(DMA1_Stream3_IRQn);
  /* DMA1_Stream4_IRQn interrupt configuration */
  HAL_NVIC_SetPriority(DMA1_Stream4_IRQn, 5, 0);
  HAL_NVIC_EnableIRQ(DMA1_Stream4_IRQn);

}

/** Configure pins as
        * Analog
        * Input
        * Output
        * EVENT_OUT
        * EXTI
*/
static void MX_GPIO_Init(void)
{

  GPIO_InitTypeDef GPIO_InitStruct;

  /* GPIO Ports Clock Enable */
  __HAL_RCC_GPIOC_CLK_ENABLE();
  __HAL_RCC_GPIOH_CLK_ENABLE();
  __HAL_RCC_GPIOA_CLK_ENABLE();
  __HAL_RCC_GPIOB_CLK_ENABLE();
  __HAL_RCC_GPIOD_CLK_ENABLE();

  /*Configure GPIO pins : GPIO_DI_AXIS_3D_SNESOR_Pin GPIO_DI_TEMPATURE_SENSOR_Pin GPIO_DI_HUMIDITY_SENSOR_Pin GPIO_DI_DOOR_RESTRICTION_Pin
                           GPIO_DI_SMOKE_SENSOR_Pin GPIO_DI_LOCK_RESV1_Pin */
  GPIO_InitStruct.Pin = GPIO_DI_AXIS_3D_SNESOR_Pin|GPIO_DI_TEMPATURE_SENSOR_Pin|GPIO_DI_HUMIDITY_SENSOR_Pin|GPIO_DI_DOOR_RESTRICTION_Pin
                          |GPIO_DI_SMOKE_SENSOR_Pin|GPIO_DI_LOCK_RESV1_Pin;
  GPIO_InitStruct.Mode = GPIO_MODE_INPUT;
  GPIO_InitStruct.Pull = GPIO_NOPULL;
  HAL_GPIO_Init(GPIOC, &GPIO_InitStruct);

  /*Configure GPIO pin : GPIO_DI_LOCK_RESV2_Pin */
  GPIO_InitStruct.Pin = GPIO_DI_LOCK_RESV2_Pin;
  GPIO_InitStruct.Mode = GPIO_MODE_INPUT;
  GPIO_InitStruct.Pull = GPIO_NOPULL;
  HAL_GPIO_Init(GPIO_DI_LOCK_RESV2_GPIO_Port, &GPIO_InitStruct);

  /*Configure GPIO pin : GPIO_DO_LOCK_DO1_Pin */
  GPIO_InitStruct.Pin = GPIO_DO_LOCK_DO1_Pin;
  GPIO_InitStruct.Mode = GPIO_MODE_OUTPUT_PP;
  GPIO_InitStruct.Pull = GPIO_NOPULL;
  GPIO_InitStruct.Speed = GPIO_SPEED_FREQ_LOW;
  HAL_GPIO_Init(GPIO_DO_LOCK_DO1_GPIO_Port, &GPIO_InitStruct);

  /*Configure GPIO pins : GPIO_DI_LOCK_DI2_STATUS_Pin GPIO_DI_VIBRATION_SENSOR_Pin */
  GPIO_InitStruct.Pin = GPIO_DI_LOCK_DI2_STATUS_Pin|GPIO_DI_VIBRATION_SENSOR_Pin;
  GPIO_InitStruct.Mode = GPIO_MODE_INPUT;
  GPIO_InitStruct.Pull = GPIO_NOPULL;
  HAL_GPIO_Init(GPIOB, &GPIO_InitStruct);

  /*Configure GPIO pin : GPIO_DI_LOCK_DI1_TRIGGER_Pin */
  GPIO_InitStruct.Pin = GPIO_DI_LOCK_DI1_TRIGGER_Pin;
  GPIO_InitStruct.Mode = GPIO_MODE_IT_RISING;
  GPIO_InitStruct.Pull = GPIO_NOPULL;
  HAL_GPIO_Init(GPIO_DI_LOCK_DI1_TRIGGER_GPIO_Port, &GPIO_InitStruct);

  /*Configure GPIO pin : GPIO_DI_WATER_SENSOR_Pin */
  GPIO_InitStruct.Pin = GPIO_DI_WATER_SENSOR_Pin;
  GPIO_InitStruct.Mode = GPIO_MODE_INPUT;
  GPIO_InitStruct.Pull = GPIO_NOPULL;
  HAL_GPIO_Init(GPIO_DI_WATER_SENSOR_GPIO_Port, &GPIO_InitStruct);

  /*Configure GPIO pin Output Level */
  HAL_GPIO_WritePin(GPIO_DO_LOCK_DO1_GPIO_Port, GPIO_DO_LOCK_DO1_Pin, GPIO_PIN_RESET);

}

/* StartDefaultTask function */
void StartDefaultTask(void const * argument)
{

  /* USER CODE BEGIN 5 */
  /* Infinite loop */
  for(;;)
  {
    osDelay(1000);
		//IhuDebugPrint("TASK01: This is a test!\n");
  }
  /* USER CODE END 5 */
}

/* StartTask02 function */
void StartTask02(void const * argument)
{
  /* USER CODE BEGIN StartTask02 */
  /* Infinite loop */
  for(;;)
  {
    osDelay(1000);
		//IhuDebugPrint("TASK02: This is a test!\n");
  }
  /* USER CODE END StartTask02 */
}

/* Callback01 function */
void Callback01(void const * argument)
{
  /* USER CODE BEGIN Callback01 */
  //IhuDebugPrint("Callback01: This is a test!\n");
  /* USER CODE END Callback01 */
}

void HAL_TIM_PeriodElapsedCallback(TIM_HandleTypeDef *htim)
{
  if (htim->Instance == TIM1) {
    HAL_IncTick();
  }
}

void Error_Handler(void)
{
  /* USER CODE BEGIN Error_Handler */
  /* User can add his own implementation to report the HAL error return state */
//	IhuErrorPrint("VMFO: Fatal error occured, but still move forward as test purposed!");
//  while(1)
//  {
//  }
  /* USER CODE END Error_Handler */
}

/************************ (C) COPYRIGHT STMicroelectronics *****END OF FILE****/
